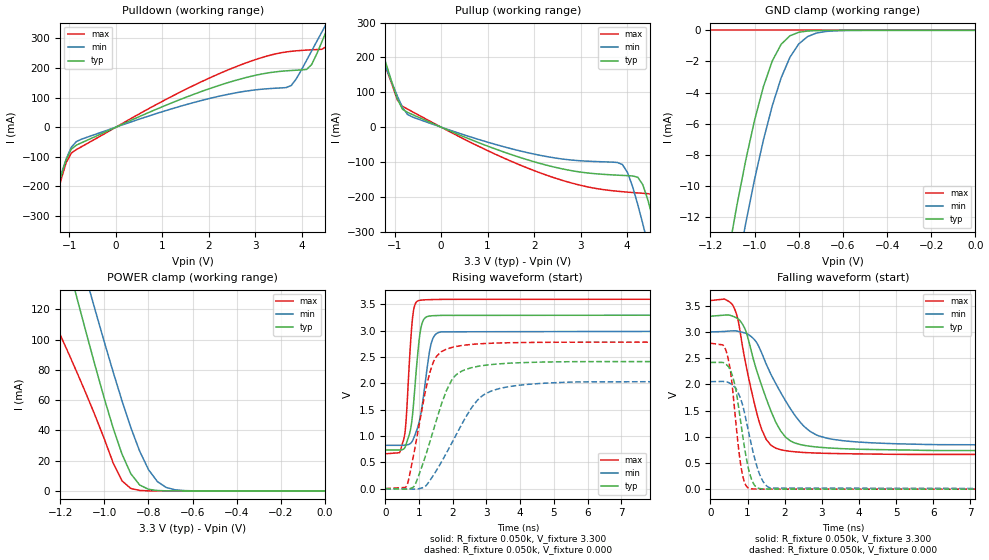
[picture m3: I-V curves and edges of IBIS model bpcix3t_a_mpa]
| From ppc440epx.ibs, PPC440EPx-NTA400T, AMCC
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|   MODEL bpcix3t_a_mpa
[Model]   bpcix3t_a_mpa
Model_type   I/O
Vinl  = 0.8V
Vinh  = 2.0V
Vref  = 0.0V
Rref  = 1E20k
Cref  = 10pF
Vmeas = 1.0V
| Values for delay from A to PAD (Tdo) are determined using
| Vref, Cref, Rref, and Vmeas.
|   INPUT TRANSITION ON DRIVER INPUT = 0.1ns
|   typ   min   max
| Tdo (rise)   1.52n   1.11n   2.11n
| Tdo (fall)   1.79n   1.41n   2.29n
|   INPUT TRANSITION ON DRIVER INPUT = 1.0ns
|   typ   min   max
| Tdo (rise)   1.67n   1.23n   2.30n
| Tdo (fall)   1.90n   1.52n   2.40n
|   typ   min   max
C_comp   1.66pF   1.59pF  1.73pF
[Temperature Range]   50.00   125.00   0.00
[Voltage Range]   3.300   3.000   3.600
|   typ   min   max
|[Supply]   VDD   1.5   1.4   1.6
|[Supply]   VDD330   3.30   3.00   3.60
[Add Submodel]
| Submodel Name   Mode
Up.bpcix3t_a.mpa   Non-Driving
Dn.bpcix3t_a.mpa   Non-Driving
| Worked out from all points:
|   slope of the pulldown table from 0 to 0.495 V, typ, clamps not added: 14.1 ohm
|   slope of the pullup table from 0 to 0.495 V, typ, clamps not added: 17.8 ohm
|   GND clamp passes 1 mA (typ) near -0.88 V on its own axis
|   POWER clamp passes 1 mA (typ) near -0.80 V on its own axis
|   rising waveform, R_fixture 0.050k, V_fixture 3.300: 20-80 % time 218ps typ, 300ps min, 165ps max; typ from 0.733 V to 3.3 V
|   falling waveform, R_fixture 0.050k, V_fixture 3.300: 20-80 % time 739ps typ, 1.04ns min, 532ps max; typ from 3.3 V to 0.733 V
|   rising waveform, R_fixture 0.050k, V_fixture 0.000: 20-80 % time 750ps typ, 1.11ns min, 518ps max; typ from 0 V to 2.42 V
|   falling waveform, R_fixture 0.050k, V_fixture 0.000: 20-80 % time 322ps typ, 411ps min, 253ps max; typ from 2.42 V to 0 V
[Pullup]   | Note: Vtable = Vcc - Vout
| Voltage   I(typ)   I(min)   I(max)
-3.6V     1.191A     952.3mA    1.086A
-1.6V     361.4mA    309.3mA    307.4mA
-1.38V    267.1mA    236mA      235.6mA
-940mV    80.76mA    88.96mA    77.77mA
-720mV    42.26mA    36.01mA    51.6mA
2.03V     -100.5mA   -78.17mA   -126.2mA
3.9V      -138.5mA   -107.2mA   -185.2mA
4.23V     -143.6mA   -221.9mA   -188.8mA
4.45V     -209.9mA   -337.4mA   -190.9mA
4.67V     -326.1mA   -463.8mA   -217.7mA
4.89V     -455.3mA   -597.7mA   -326.2mA
7.2V      -2.025A    -2.105A    -1.906A
[Pulldown]   | Note: Vtable = Vout
| Voltage   I(typ)   I(min)   I(max)
-3.6V     -1.824A    -1.716A    -1.91A
-1.51V    -369.3mA   -348.6mA   -392.6mA
-1.4V     -298.2mA   -282.7mA   -317.7mA
-1.07V    -110.1mA   -107.2mA   -119.7mA
-850mV    -60.72mA   -48.63mA   -75.73mA
2.01V     129.9mA    96.75mA    165.9mA
3.77V     191.4mA    140.6mA    256.2mA
4.1V      195mA      225.4mA    260.4mA
4.21V     211.5mA    257.6mA    261.3mA
4.54V     329.9mA    353.5mA    273.7mA
4.76V     412.6mA    416.5mA    341.7mA
7.2V      1.342A     1.148A     1.144A
[POWER_Clamp]   | Note: Vtable = Vcc - Vout
| Voltage   I(typ)   I(min)   I(max)
-3.6V     1.491A     1.456A     1.125A
-1.28V    214.6mA    244.6mA    128.5mA
-1.12V    125.3mA    160.2mA    76.98mA
-1.08V    103.4mA    139.4mA    63.34mA
-1.04V    81.84mA    118.7mA    49.19mA
-960mV    41.52mA    78.57mA    18.49mA
-920mV    24.37mA    59.55mA    6.672mA
-880mV    11.36mA    41.85mA    1.628mA
-800mV    1.083mA    14.1mA     60uA
-760mV    268uA      6.215mA    11uA
-640mV    4uA        241uA      0A
0V        0A         0A         0A
[GND_Clamp]   | Note: Vtable = Vout
| Voltage   I(typ)   I(min)   I(max)
-3.6V     -278.4mA   -280.5mA   0A
-1.12V    -14.38mA   -18.65mA   0A
-1.08V    -11.22mA   -15.42mA   0A
-1.04V    -8.327mA   -12.37mA   0A
-960mV    -3.61mA    -7.033mA   0A
-920mV    -1.965mA   -4.843mA   0A
-880mV    -898uA     -3.056mA   0A
-840mV    -350uA     -1.729mA   0A
-800mV    -125uA     -871uA     0A
-760mV    -44uA      -400uA     0A
-680mV    -6uA       -76uA      0A
0V        0A         0A         0A
[Ramp]
| variable   typ   min   max
  dV/dt_r   1.45/0.75n   1.23/1.11n   1.67/0.52n
  dV/dt_f   1.54/0.74n   1.30/1.04n   1.76/0.53n
R_load = 0.05k
[Rising Waveform]
R_fixture = 0.050k
V_fixture = 3.300
V_fixture_min = 3.000
V_fixture_max = 3.600
|   time   V(typ)   V(min)   V(max)
0s        733mV      823mV      662mV
420ps     732mV      823mV      682mV
560ps     762mV      824mV      974mV
620ps     848mV      829mV      1.324V
810ps     1.416V     912mV      3.252V
1.01ns    2.854V     1.281V     3.575V
1.13ns    3.201V     1.745V     3.584V
1.36ns    3.281V     2.752V     3.59V
1.68ns    3.29V      2.978V     3.594V
19.9ns    3.3V       3V         3.6V
[Falling Waveform]
R_fixture = 0.050k
V_fixture = 3.300
V_fixture_min = 3.000
V_fixture_max = 3.600
|   time   V(typ)   V(min)   V(max)
0s        3.3V       3V         3.6V
590ps     3.302V     3.02V      3.521V
730ps     3.257V     3.013V     3.268V
870ps     3.14V      2.991V     2.7V
1.38ns    1.976V     2.6V       1.141V
1.63ns    1.49V      2.19V      837mV
1.89ns    1.113V     1.848V     753mV
2.69ns    818mV      1.1V       694mV
3.79ns    767mV      910mV      675mV
19.9ns    733mV      823mV      662mV
[Rising Waveform]
R_fixture = 0.050k
V_fixture = 0.000
V_fixture_min = 0.000
V_fixture_max = 0.000
|   time   V(typ)   V(min)   V(max)
0s        0V         0V         0V
620ps     -10mV      -5mV       37mV
870ps     61mV       -9mV       742mV
1.2ns     638mV      51mV       1.879V
1.41ns    1.075V     238mV      2.376V
1.81ns    1.857V     672mV      2.648V
2.04ns    2.121V     948mV      2.692V
2.86ns    2.334V     1.754V     2.752V
4.13ns    2.394V     1.974V     2.775V
19.9ns    2.418V     2.051V     2.783V
[Falling Waveform]
R_fixture = 0.050k
V_fixture = 0.000
V_fixture_min = 0.000
V_fixture_max = 0.000
|   time   V(typ)   V(min)   V(max)
0s        2.418V     2.051V     2.783V
440ps     2.371V     2.046V     2.597V
550ps     2.247V     2.01V      2.198V
660ps     1.983V     1.941V     1.45V
840ps     1.161V     1.669V     359mV
940ps     701mV      1.385V     94mV
1.08ns    245mV      921mV      8mV
1.33ns    11mV       275mV      2mV
1.62ns    2mV        21mV       1mV
19.9ns    0V         0V         0V
